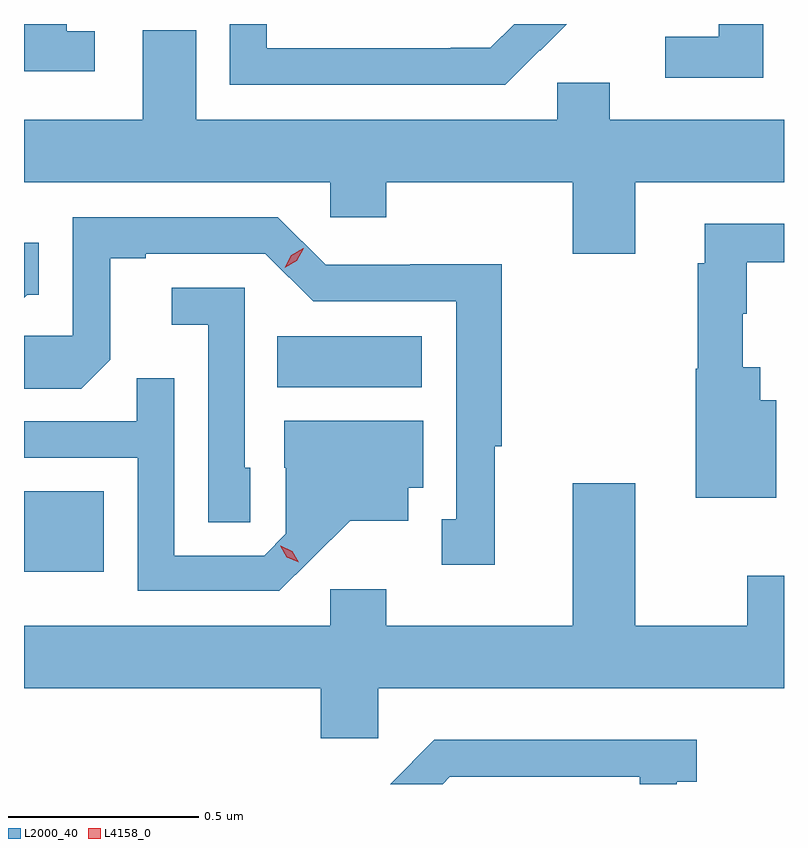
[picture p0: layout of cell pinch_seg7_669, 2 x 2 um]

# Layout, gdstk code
import gdstk
lib = gdstk.Library(unit=1e-6, precision=1e-09)
def R(c, l, rs):  # rectangles x0, y0, x1, y1
    for r in rs: c.add(gdstk.rectangle(r[:2], r[2:], *l))
def P(c, l, *ps):  # polygons
    for p in ps: c.add(gdstk.Polygon(p, *l))
L2000_40 = (2000, 40)
L4158_0 = (4158, 0)

pinch_seg7_669 = lib.new_cell('pinch_seg7_669')
R(pinch_seg7_669, L2000_40, [(115.612,1020.902,115.822,1021.114), (116.278,1021.388,116.659,1021.522)])
P(pinch_seg7_669, L2000_40, [(115.798,1022.325),(115.725,1022.325),(115.725,1022.344),(115.612,1022.344),(115.612,1022.22),(115.798,1022.22)],
  [(117.557,1022.344),(117.44,1022.344),(117.44,1022.311),(117.3,1022.311),(117.3,1022.202),(117.557,1022.202)],
  [(116.969,1022.275),(116.97,1022.274),(117.04,1022.344),(116.902,1022.344),(116.839,1022.281),(116.735,1022.281),(116.735,1022.28),(116.251,1022.28),(116.251,1022.344),(116.154,1022.344),(116.154,1022.184),(116.878,1022.184)],
  [(117.22,1021.928),(117.612,1021.928),(117.612,1022.092),(117.154,1022.092),(117.154,1022.19),(117.015,1022.19),(117.015,1022.092),(116.065,1022.092),(116.065,1022.328),(115.925,1022.328),(115.925,1022.092),(115.612,1022.092),(115.612,1021.928),(116.418,1021.928),(116.418,1021.835),(116.565,1021.835),(116.565,1021.928),(117.056,1021.928),(117.056,1021.74),(117.22,1021.74)],
  [(116.851,1021.233),(116.869,1021.233),(116.869,1021.712),(116.628,1021.712),(116.628,1021.71),(116.406,1021.71),(116.28,1021.836),(115.74,1021.836),(115.74,1021.524),(115.612,1021.524),(115.612,1021.384),(115.763,1021.384),(115.839,1021.46),(115.839,1021.728),(115.933,1021.728),(115.933,1021.74),(116.247,1021.74),(116.373,1021.614),(116.75,1021.614),(116.75,1021.041),(116.711,1021.041),(116.711,1020.921),(116.851,1020.921)],
  [(117.592,1021.354),(117.55,1021.354),(117.55,1021.441),(117.503,1021.441),(117.503,1021.581),(117.514,1021.581),(117.514,1021.717),(117.612,1021.717),(117.612,1021.818),(117.404,1021.818),(117.404,1021.715),(117.385,1021.715),(117.385,1021.437),(117.38,1021.437),(117.38,1021.097),(117.592,1021.097)],
  [(115.62,1021.632),(115.651,1021.632),(115.651,1021.768),(115.612,1021.768),(115.612,1021.624)],
  [(116.208,1021.176),(116.193,1021.176),(116.193,1021.65),(116.001,1021.65),(116.001,1021.553),(116.097,1021.553),(116.097,1021.033),(116.208,1021.033)],
  [(116.368,1020.935),(116.471,1021.037),(116.623,1021.037),(116.623,1021.124),(116.662,1021.124),(116.662,1021.3),(116.297,1021.3),(116.297,1021.176),(116.301,1021.176),(116.301,1021.002),(116.244,1020.945),(116.007,1020.945),(116.007,1021.412),(115.909,1021.412),(115.909,1021.299),(115.612,1021.299),(115.612,1021.203),(115.911,1021.203),(115.911,1020.852),(116.284,1020.852)],
  [(116.544,1020.596),(117.612,1020.596),(117.612,1020.892),(117.515,1020.892),(117.515,1020.76),(117.22,1020.76),(117.22,1021.135),(117.056,1021.135),(117.056,1020.76),(116.565,1020.76),(116.565,1020.856),(116.418,1020.856),(116.418,1020.76),(115.612,1020.76),(115.612,1020.596),(116.393,1020.596),(116.393,1020.465),(116.544,1020.465)],
  [(116.733,1020.363),(117.233,1020.363),(117.233,1020.344),(117.33,1020.344),(117.33,1020.35),(117.382,1020.35),(117.382,1020.46),(116.692,1020.46),(116.576,1020.344),(116.714,1020.344)])
P(pinch_seg7_669, L4158_0, [(116.298,1021.702),(116.298,1021.703),(116.315,1021.735),(116.347,1021.754),(116.348,1021.754),(116.348,1021.754),(116.33,1021.721),(116.298,1021.702)],
  [(116.335,1020.927),(116.304,1020.941),(116.286,1020.971),(116.286,1020.971),(116.287,1020.971),(116.318,1020.956),(116.335,1020.927),(116.335,1020.927)])

lib.write_gds('pinch_seg7_669.gds')
